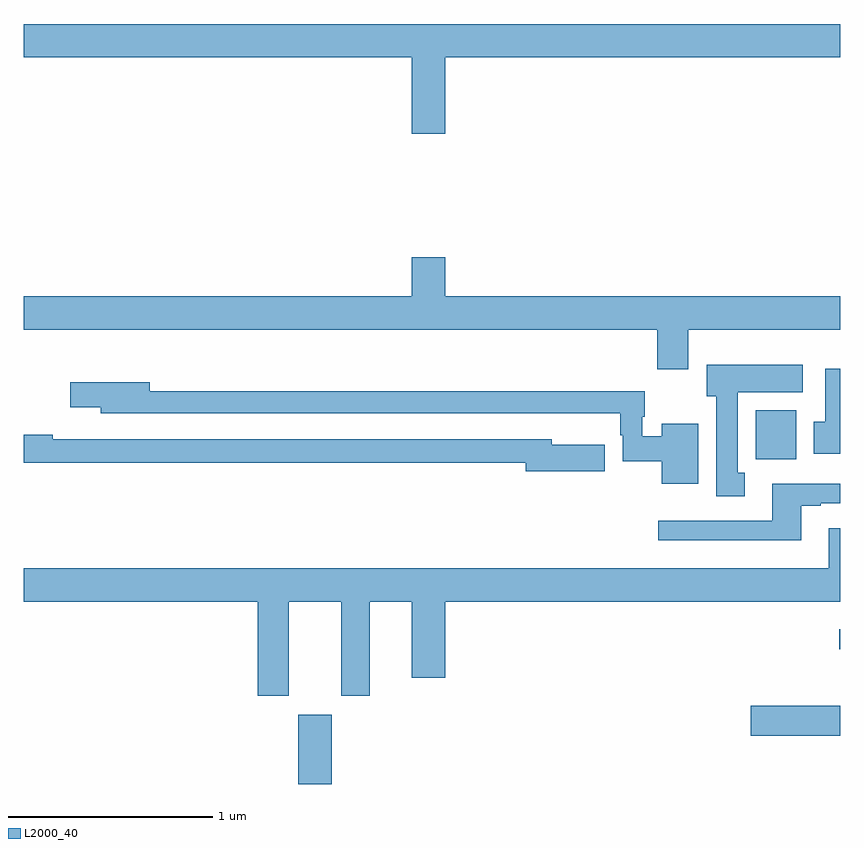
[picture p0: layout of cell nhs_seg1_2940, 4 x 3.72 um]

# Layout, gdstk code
import gdstk
lib = gdstk.Library(unit=1e-6, precision=1e-09)
def R(c, l, rs):  # rectangles x0, y0, x1, y1
    for r in rs: c.add(gdstk.rectangle(r[:2], r[2:], *l))
def P(c, l, *ps):  # polygons
    for p in ps: c.add(gdstk.Polygon(p, *l))
L2000_40 = (2000, 40)

nhs_seg1_2940 = lib.new_cell('nhs_seg1_2940')
R(nhs_seg1_2940, L2000_40, [(272.345,524.199,272.509,524.539), (274.56,524.435,275,524.582), (274.995,524.859,275,524.956), (274.586,525.788,274.783,526.03)])
P(nhs_seg1_2940, L2000_40, [(273.064,527.756),(275,527.756),(275,527.92),(271,527.92),(271,527.756),(272.9,527.756),(272.9,527.382),(273.064,527.382)],
  [(274.255,526.424),(275,526.424),(275,526.588),(273.064,526.588),(273.064,526.777),(272.9,526.777),(272.9,526.588),(271,526.588),(271,526.424),(274.103,526.424),(274.103,526.23),(274.255,526.23)],
  [(274.531,525.722),(274.498,525.722),(274.498,526.118),(274.816,526.118),(274.816,526.252),(274.346,526.252),(274.346,526.098),(274.391,526.098),(274.391,525.609),(274.531,525.609)],
  [(275,526.231),(274.925,526.231),(274.925,525.972),(274.868,525.972),(274.868,525.816),(275,525.816)],
  [(274.303,525.964),(274.124,525.964),(274.124,525.901),(274.029,525.901),(274.029,525.996),(274.042,525.996),(274.042,526.123),(271.618,526.123),(271.618,526.165),(271.23,526.165),(271.23,526.043),(271.379,526.043),(271.379,526.014),(273.682,526.014),(273.682,526.013),(273.921,526.013),(273.921,525.906),(273.933,525.906),(273.933,525.78),(274.124,525.78),(274.124,525.668),(274.303,525.668)],
  [(273.847,525.859),(273.586,525.859),(273.586,525.888),(271.142,525.888),(271.142,525.908),(271,525.908),(271,525.772),(273.458,525.772),(273.458,525.73),(273.847,525.73)],
  [(274.807,525.561),(274.903,525.561),(274.903,525.573),(275,525.573),(275,525.67),(274.667,525.67),(274.667,525.489),(274.107,525.489),(274.107,525.392),(274.807,525.392)],
  [(272.299,525.092),(272.555,525.092),(272.555,524.631),(272.695,524.631),(272.695,525.092),(272.9,525.092),(272.9,524.718),(273.064,524.718),(273.064,525.092),(275,525.092),(275,525.451),(274.943,525.451),(274.943,525.256),(271,525.256),(271,525.092),(272.147,525.092),(272.147,524.631),(272.299,524.631)])

lib.write_gds('nhs_seg1_2940.gds')
